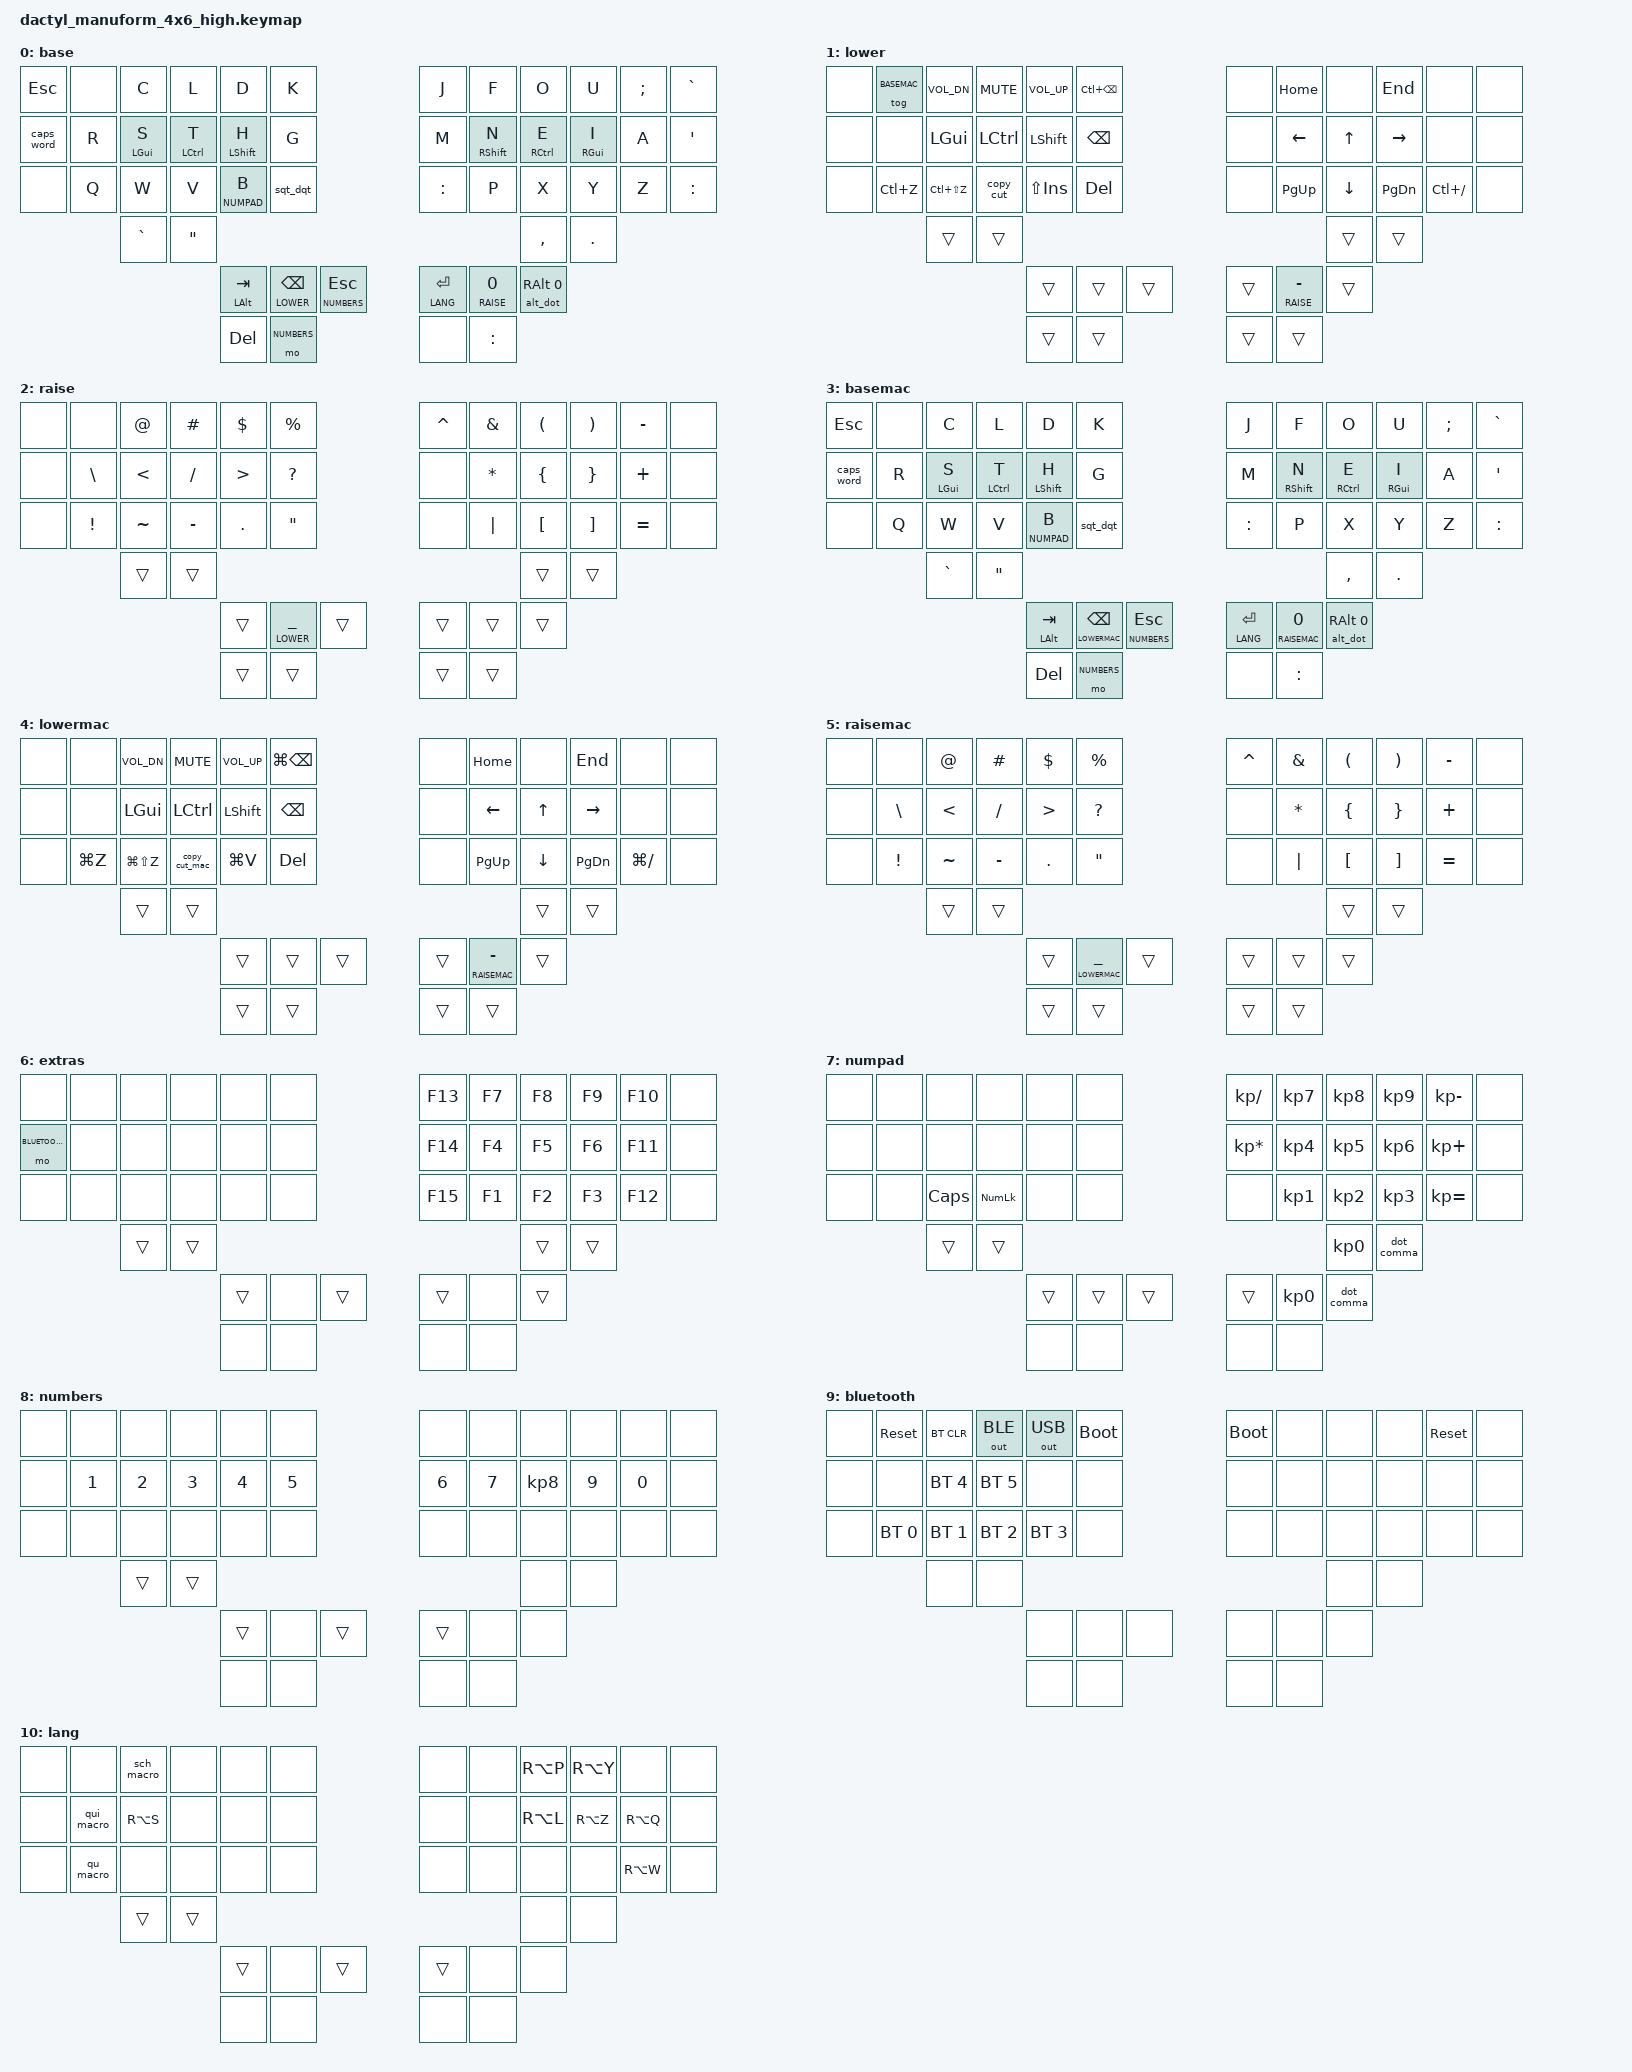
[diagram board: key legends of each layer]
#include <behaviors.dtsi>
#include <dt-bindings/zmk/keys.h>
#include <dt-bindings/zmk/bt.h>
#include <dt-bindings/zmk/outputs.h>
#include "../zmk-nodefree-config/helper.h"
#include "../zmk-nodefree-config/keypos_def/keypos_dactyl_manuform_4x6.h"

#define BASE      0
#define LOWER     1
#define RAISE     2

#define BASEMAC   3
#define LOWERMAC  4
#define RAISEMAC  5

#define EXTRAS    6
#define NUMPAD    7
#define NUMBERS   8
#define BLUETOOTH 9
#define LANG      10


// left-hand keys
#define KEYS_L LN0 LN1 LN2 LN3 LN4 LN5 LT0 LT1 LT2 LT3 LT4 LT5 LM0 LM1 LM2 LM3 LM4 LM5 LB0 LB1
// right-hand keys
#define KEYS_R RN0 RN1 RN2 RN3 RN4 RN5 RT0 RT1 RT2 RT3 RT4 RT5 RM0 RM1 RM2 RM3 RM4 RM5 RB0 RB1
// left-hand thumb keys
#define THUMBS_L LH4 LH3 LH2 LH1 LH0
// right-hand thumb keys
#define THUMBS_R RH0 RH1 RH2 RH3 RH4

/ {
    conditional_layers {
        compatible = "zmk,conditional-layers";
        tri_layer {
            if-layers = <LOWER RAISE>;
            then-layer = <EXTRAS>;
        };
        tri_layer_mac {
            if-layers = <LOWERMAC RAISEMAC>;
            then-layer = <EXTRAS>;
        };
    };
};


#define XXX &none
#define ___ &trans

#undef COMBO_TERM
#define COMBO_TERM 40

ZMK_COMBO(comboColon, &kp COLON, RM1 RM2, 0)
// ZMK_COMBO(comboSingleQuote, &kp SINGLE_QUOTE, RT1 RT2, 0)
// ZMK_COMBO(comboDoubleQuote, &kp DOUBLE_QUOTES,  RT2 RT3, 0)
// ZMK_COMBO(comboReturn, &kp RET, RH3 RT4, 0)

#define MAKE_HRM(NAME, HOLD, TAP, TRIGGER_POS) \
    ZMK_BEHAVIOR(NAME, hold_tap, \
        flavor = "balanced"; \
        tapping-term-ms = <280>; \
        quick-tap-ms = <175>; \
        bindings = <HOLD>, <TAP>; \
        hold-trigger-key-positions = <TRIGGER_POS>; \
        hold-trigger-on-release; \
        hold-while-undecided; \
    )
//global-quick-tap-ms = <150>;

// left-hand HRMs
MAKE_HRM(hml, &kp, &kp, THUMBS_L THUMBS_R KEYS_R)
// right-hand HRMs
MAKE_HRM(hmr, &kp, &kp, THUMBS_L THUMBS_R KEYS_L)

&lt {
  tapping-term-ms = <280>;
  quick-tap-ms = <175>; // repeat on tap-into-hold
  flavor = "balanced";
};

&mt {
  tapping-term-ms = <280>;
  quick-tap-ms = <200>; // repeat on tap-into-hold
  flavor = "balanced";
};

// long-tap action on hold, short-tap action on all interrupts
// flavor = "tap-preferred";
// #define MT_CORE \
//     flavor = "balanced"; \
//     tapping-term-ms = <220>; \
//     quick-tap-ms = <220>; \
//     hold-trigger-key-positions = <0>;

// &mt { MT_CORE };

// ZMK_BEHAVIOR(mt_home, hold_tap, bindings = <&masked_home>, <&kp>; MT_CORE)
// ZMK_BEHAVIOR(mt_end,  hold_tap,  bindings = <&masked_end>, <&kp>; MT_CORE)

// #define NAV_LEFT  &mt_home 0   LEFT    // tap: left  | long-tap: beginning of line
// #define NAV_RIGHT &mt_end 0    RIGHT   // tap: right | long-tap: end       of line
// #define NAV_UP    &mt LC(HOME) UP      // tap: up    | long-tap: beginning of document
// #define NAV_DOWN  &mt LC(END)  DOWN    // tap: down  | long-tap: end       of document
// #define NAV_BSPC  &mt LC(BSPC) BSPC    // tap: bspc  | long-tap: delete word backward
// #define NAV_DEL   &mt LC(DEL)  DEL     // tap: del   | long-tap: delete word forward

// mask CTRL when holding left/right to avoid accidental jumps to beginning/end of document
#define MASK_MODS(NAME, MODS, BINDING) \
    ZMK_BEHAVIOR(NAME, mod_morph, \
        bindings = <BINDING>, <BINDING>; \
        mods = <MODS>; \
    )
MASK_MODS(masked_home, (MOD_LCTL), &kp HOME)
MASK_MODS(masked_end,  (MOD_LCTL), &kp END)

// -------------------------------------------------------------------
ZMK_BEHAVIOR(lt_spc, hold_tap,
    flavor = "balanced";
    tapping-term-ms = <200>;
    quick-tap-ms = <175>;
    bindings = <&mo>, <&spc_morph>;
)
ZMK_BEHAVIOR(spc_morph, mod_morph,
    bindings = <&kp SPACE>, <&dot_spc>;
    mods = <(MOD_LSFT|MOD_RSFT)>;
)
ZMK_BEHAVIOR(dot_spc, macro,
    wait-ms = <0>;
    tap-ms = <5>;
    bindings = <&kp DOT &kp SPACE &sk LSHFT>;
)

// ZMK_BEHAVIOR(tmux, macro,
//     wait-ms = <0>;
//     tap-ms = <5>;
//     bindings = <&kp LCTL &kp B>;
// )
// -------------------------------------------------------------------
ZMK_BEHAVIOR(alt_dot, hold_tap,
    flavor = "balanced";
    tapping-term-ms = <200>;
    bindings = <&kp>, <&alt_morph>;
    hold-while-undecided;
)
ZMK_BEHAVIOR(alt_morph, mod_morph,
    bindings = <&kp DOT>, <&kp COMMA>;
    mods = <(MOD_LSFT|MOD_RSFT)>;
)
// -------------------------------------------------------------------
// -------------------------------------------------------------------
ZMK_BEHAVIOR(copy_cut, tap_dance,
    tapping-term-ms = <200>;
    bindings = <&kp LC(INS)>, <&kp LC(X)>;
)

ZMK_BEHAVIOR(copy_cut_mac, tap_dance,
    tapping-term-ms = <200>;
    bindings = <&kp LG(C)>, <&kp LG(X)>;
)

ZMK_BEHAVIOR(dot_comma, tap_dance,
    tapping-term-ms = <200>;
    bindings = <&kp DOT>, <&kp COMMA>;
)

ZMK_BEHAVIOR(sqt_dqt, tap_dance,
    tapping-term-ms = <200>;
    bindings = <&kp SQT>, <&kp DQT>;
)
// -------------------------------------------------------------------
// -------------------------------------------------------------------

ZMK_BEHAVIOR(qu_macro, macro,
    wait-ms = <0>;
    tap-ms = <5>;
    bindings = <&kp Q>, <&kp U>;
)
ZMK_BEHAVIOR(qui_macro, macro,
    wait-ms = <0>;
    tap-ms = <5>;
    bindings = <&kp Q>, <&kp U>, <&kp I>;
)
ZMK_BEHAVIOR(sch_macro, macro,
    wait-ms = <0>;
    tap-ms = <5>;
    bindings = <&kp S>, <&kp C>, <&kp H>;
)
// -------------------------------------------------------------------

// -------------------------------------------------------------------
// Linux
// -------------------------------------------------------------------
ZMK_LAYER(base,
  &kp ESC       XXX           &kp C         &kp L           &kp D         &kp K                                             &kp J         &kp F         &kp O         &kp U         &kp SEMI      &kp GRAVE
  &caps_word    &kp R         &hml LGUI S   &hml LCTRL T    &hml LSHIFT H &kp G                                             &kp M         &hmr RSHIFT N &hmr RCTRL E  &hmr RGUI I   &kp A         &kp SQT
  XXX           &kp Q         &kp W         &kp V           &lt NUMPAD B  &sqt_dqt                                          &kp COLON     &kp P         &kp X         &kp Y         &kp Z         &kp COLON
                              &kp GRAVE      &kp DQT                                                                                                    &kp COMMA     &kp DOT
                                                            &mt LALT TAB  &lt LOWER BSPC  &lt NUMBERS ESC           &lt LANG RET &lt_spc RAISE 0   &alt_dot RALT 0
                                                                  &kp DEL       &mo NUMBERS                                 XXX       &kp COLON
)

ZMK_LAYER(lower,
  XXX           &tog BASEMAC  &kp K_VOL_DN  &kp K_MUTE    &kp K_VOL_UP  &kp LC(BSPC)                                        XXX           &kp HOME      XXX           &kp END       XXX           XXX
  XXX           XXX           &kp LGUI      &kp LCTRL     &kp LSHIFT    &kp BSPC                                            XXX           &kp LEFT      &kp UP        &kp RIGHT     XXX           XXX
  XXX           &kp LC(Z)     &kp LC(LS(Z)) &copy_cut     &kp LS(INS)   &kp DEL                                             XXX           &kp PG_UP     &kp DOWN      &kp PG_DN     &kp LC(SLASH) XXX
                              ___           ___                                                                                                         ___           ___
                                                            ___         ___         ___                     ___    &lt RAISE MINUS         ___
                                                                  ___         ___                                 ___         ___
)

ZMK_LAYER(raise,
  XXX           XXX           &kp AT        &kp HASH      &kp DOLLAR    &kp PERCENT                                         &kp CARET     &kp AMPS      &kp LPAR      &kp RPAR      &kp MINUS     XXX
  XXX           &kp BACKSLASH &kp LT        &kp SLASH     &kp GT        &kp QMARK                                           XXX           &kp ASTERISK  &kp LBRC      &kp RBRC      &kp PLUS      XXX
  XXX           &kp EXCL      &kp TILDE     &kp MINUS     &kp DOT       &kp DQT                                             XXX           &kp PIPE      &kp LBKT      &kp RBKT      &kp EQUAL     XXX
                              ___           ___                                                                                                     ___           ___
                                                            ___    &lt LOWER UNDERSCORE     ___                     ___         ___         ___
                                                                  ___         ___                                 ___         ___
)

// -------------------------------------------------------------------
// Linux end
// -------------------------------------------------------------------

// -------------------------------------------------------------------
// Mac start
// -------------------------------------------------------------------

ZMK_LAYER(basemac,
  &kp ESC       XXX           &kp C         &kp L           &kp D         &kp K                                             &kp J         &kp F         &kp O         &kp U         &kp SEMI      &kp GRAVE
  &caps_word    &kp R         &hml LGUI S   &hml LCTRL T    &hml LSHIFT H &kp G                                             &kp M         &hmr RSHIFT N &hmr RCTRL E  &hmr RGUI I   &kp A         &kp SQT
  XXX           &kp Q         &kp W         &kp V           &lt NUMPAD B  &sqt_dqt                                          &kp COLON     &kp P         &kp X         &kp Y         &kp Z         &kp COLON
                              &kp GRAVE      &kp DQT                                                                                                    &kp COMMA     &kp DOT
                                                            &mt LALT TAB  &lt LOWERMAC BSPC  &lt NUMBERS ESC           &lt LANG RET   &lt_spc RAISEMAC 0   &alt_dot RALT 0
                                                                  &kp DEL       &mo NUMBERS                                 XXX       &kp COLON
)

ZMK_LAYER(lowermac,
  XXX           XXX           &kp K_VOL_DN  &kp K_MUTE    &kp K_VOL_UP  &kp LG(BSPC)                                        XXX           &kp HOME      XXX           &kp END       XXX           XXX
  XXX           XXX           &kp LGUI      &kp LCTRL     &kp LSHIFT    &kp BSPC                                            XXX           &kp LEFT      &kp UP        &kp RIGHT     XXX           XXX
  XXX           &kp LG(Z)     &kp LG(LS(Z)) &copy_cut_mac     &kp LG(V)     &kp DEL                                             XXX           &kp PG_UP     &kp DOWN      &kp PG_DN     &kp LG(SLASH) XXX
                              ___           ___                                                                                                         ___           ___
                                                            ___         ___         ___                     ___    &lt RAISEMAC MINUS         ___
                                                                  ___         ___                                 ___         ___
)

ZMK_LAYER(raisemac,
  XXX           XXX           &kp AT        &kp HASH      &kp DOLLAR    &kp PERCENT                                         &kp CARET     &kp AMPS      &kp LPAR      &kp RPAR      &kp MINUS     XXX
  XXX           &kp BACKSLASH &kp LT        &kp SLASH     &kp GT        &kp QMARK                                           XXX           &kp ASTERISK  &kp LBRC      &kp RBRC      &kp PLUS      XXX
  XXX           &kp EXCL      &kp TILDE     &kp MINUS     &kp DOT       &kp DQT                                             XXX           &kp PIPE      &kp LBKT      &kp RBKT      &kp EQUAL     XXX
                              ___           ___                                                                                                     ___           ___
                                                            ___    &lt LOWERMAC UNDERSCORE     ___                     ___         ___         ___
                                                                  ___         ___                                 ___         ___
)

// -------------------------------------------------------------------
// Mac end
// -------------------------------------------------------------------

ZMK_LAYER(extras,
  XXX           XXX           XXX           XXX           XXX           XXX                                             &kp F13       &kp F7        &kp F8        &kp F9        &kp F10           XXX
  &mo BLUETOOTH XXX           XXX           XXX           XXX           XXX                                             &kp F14       &kp F4        &kp F5        &kp F6        &kp F11           XXX
  XXX           XXX           XXX           XXX           XXX           XXX                                             &kp F15       &kp F1        &kp F2        &kp F3        &kp F12           XXX
                              ___           ___                                                                                                     ___           ___
                                                            ___         XXX         ___                     ___         XXX         ___
                                                                  XXX         XXX                                 XXX         XXX
)

ZMK_LAYER(numpad,
  XXX           XXX           XXX           XXX           XXX           XXX                                             &kp KP_DIVIDE   &kp KP_N7   &kp KP_N8   &kp KP_N9   &kp KP_MINUS          XXX
  XXX           XXX           XXX           XXX           XXX           XXX                                             &kp KP_MULTIPLY &kp KP_N4   &kp KP_N5   &kp KP_N6   &kp KP_PLUS           XXX
  XXX           XXX           &kp CAPSLOCK  &kp KP_NUMLOCK XXX          XXX                                             XXX             &kp KP_N1   &kp KP_N2   &kp KP_N3   &kp KP_EQUAL          XXX
                              ___           ___                                                                                                     &kp KP_N0   &dot_comma
                                                            ___         ___         ___                     ___         &kp KP_N0     &dot_comma
                                                                  XXX         XXX                                 XXX         XXX
)


ZMK_LAYER(numbers,
  XXX           XXX           XXX           XXX           XXX           XXX                                             XXX             XXX           XXX         XXX           XXX               XXX
  XXX           &kp NUMBER_1  &kp NUMBER_2  &kp NUMBER_3  &kp NUMBER_4  &kp NUMBER_5                                    &kp NUMBER_6    &kp NUMBER_7  &kp KP_N8   &kp NUMBER_9  &kp NUMBER_0      XXX
  XXX           XXX           XXX           XXX           XXX           XXX                                             XXX             XXX           XXX         XXX           XXX               XXX
                              ___           ___                                                                                                       XXX         XXX
                                                            ___         XXX         ___                     ___         XXX           XXX
                                                                  XXX         XXX                                 XXX         XXX
)

ZMK_LAYER(bluetooth,
  XXX           &sys_reset    &bt BT_CLR    &out OUT_BLE  &out OUT_USB  &bootloader                                     &bootloader   XXX           XXX           XXX           &sys_reset    XXX
  XXX           XXX           &bt BT_SEL 4  &bt BT_SEL 5  XXX           XXX                                             XXX           XXX           XXX           XXX           XXX           XXX
  XXX           &bt BT_SEL 0  &bt BT_SEL 1  &bt BT_SEL 2  &bt BT_SEL 3  XXX                                             XXX           XXX           XXX           XXX           XXX           XXX
                              XXX           XXX                                                                                                     XXX           XXX
                                                            XXX         XXX         XXX                     XXX         XXX         XXX
                                                                  XXX         XXX                                 XXX         XXX
)


ZMK_LAYER(lang,
  XXX           XXX           &sch_macro    XXX           XXX           XXX                                             XXX             XXX           &kp RA(P)   &kp RA(Y)     XXX               XXX
  XXX           &qui_macro    &kp RA(S)     XXX           XXX           XXX                                             XXX             XXX           &kp RA(L)   &kp RA(Z)     &kp RA(Q)         XXX
  XXX           &qu_macro     XXX           XXX           XXX           XXX                                             XXX             XXX           XXX         XXX           &kp RA(W)         XXX
                              ___           ___                                                                                                       XXX         XXX
                                                            ___         XXX         ___                     ___         XXX           XXX
                                                                  XXX         XXX                                 XXX         XXX
)


// ZMK_LAYER(base,
//   XXX           XXX           &kp W         &kp F           &kp P         &kp B                                             &kp J         &kp L         &kp U         &kp Y         &kp SEMI      &kp GRAVE
//   XXX           &kp A         &hml LGUI S   &hml LCTRL T    &hml LSHIFT H &kp G                                             &kp M         &hmr RSHIFT N &hmr RCTRL E  &hmr RGUI I   &kp O         &kp SQT
//   &caps_word    &kp Z         &kp C         &kp K           &lt NUMPAD D  &sqt_dqt                                          &kp COLON     &kp R         &kp X         &kp V         &kp Q         &kp COLON
//                               &kp TILDE     &kp SLASH                                                                                                   &kp COMMA     &kp DOT
//                                                             &mt LALT TAB  &lt LOWER BSPC  &lt NUMPAD ESC            &kp RET    &lt_spc RAISE 0   &alt_dot RALT 0
//                                                                   &kp DEL       &mo NUMBERS                                 XXX       &kp COLON
// )

// ZMK_LAYER(qure,
//   XXX           XXX           &kp W         &kp F           &kp P         &kp B                                             &kp X         &kp V         &kp K         &kp Y         &kp SEMI      &kp GRAVE
//   XXX           &kp R         &hml LGUI S   &hml LCTRL T    &hml LSHIFT H &kp G                                             &kp M         &hmr RSHIFT N &hmr RCTRL E  &hmr RGUI I   &kp A         &kp SQT
//   &caps_word    &kp Q         &kp C         &kp L           &lt NUMPAD D  &sqt_dqt                                          &kp COLON     &kp J         &kp U         &kp O         &kp Z         &kp COLON
//                               &kp TILDE     &kp SLASH                                                                                                   &kp COMMA     &kp DOT
//                                                             &mt LALT TAB  &lt LOWER BSPC  &lt NUMPAD ESC            &kp RET    &lt_spc RAISE 0   &alt_dot RALT 0
//                                                                   &kp DEL       &mo NUMBERS                                 XXX       &kp COLON
// )


// ZMK_LAYER(qure,
//   XXX           XXX           &kp W         &kp F           &kp P         &kp B                                             &kp J         &kp Y         &kp U         &kp O         &kp SEMI      &kp GRAVE
//   XXX           &kp R         &hml LGUI S   &hml LCTRL T    &hml LSHIFT H &kp G                                             &kp M         &hmr RSHIFT N &hmr RCTRL E  &hmr RGUI I   &kp A         &kp SQT
//   &caps_word    &kp Q         &kp C         &kp L           &lt NUMPAD D  &sqt_dqt                                          &kp COLON     &kp V         &kp X         &kp K         &kp Z         &kp COLON
//                               &kp TILDE     &kp SLASH                                                                                                   &kp COMMA     &kp DOT
//                                                             &mt LALT TAB  &lt LOWER BSPC  &lt NUMPAD ESC            &kp RET    &lt_spc RAISE 0   &alt_dot RALT 0
//                                                                   &kp DEL       &mo NUMBERS                                 XXX       &kp COLON
// )



// ZMK_LAYER(qure,
//   XXX           XXX           &kp L         &kp D           &kp W         &kp B                                             &kp J         &kp F         &kp U         &kp O         &kp SEMI      &kp GRAVE
//   XXX           &kp N         &hml LGUI R   &hml LCTRL S    &hml LSHIFT T &kp G                                             &kp Y         &hmr RSHIFT H &hmr RCTRL A  &hmr RGUI E   &kp I         &kp SQT
//   &caps_word    &kp Q         &kp X         &kp M           &lt NUMPAD C  &sqt_dqt                                          &kp COLON     &kp P         &kp X         &kp V         &kp Z         &kp COLON
//                               &kp TILDE     &kp SLASH                                                                                                   &kp COMMA     &kp DOT
//                                                             &mt LALT TAB  &lt LOWER BSPC  &lt NUMPAD ESC            &kp RET    &lt_spc RAISE 0   &alt_dot RALT 0
//                                                                   &kp DEL       &mo NUMBERS                                 XXX       &kp COLON
// )
//  ldwb jfou
// nrtsg yhaei
// qxmc   kpvz
// ZMK_LAYER(qure,
//   XXX           XXX           &kp C         &kp L           &kp D         &kp B                                             &kp J         &kp U         &kp O         &kp Y         &kp SEMI      &kp GRAVE
//   XXX           &kp R         &hml LGUI S   &hml LCTRL T    &hml LSHIFT H &kp G                                             &kp M         &hmr RSHIFT N &hmr RCTRL E  &hmr RGUI I   &kp A         &kp SQT
//   &caps_word    &kp Q         &kp W         &kp F           &lt NUMPAD P  XXX                                               &kp COLON     &kp V         &kp X         &kp K         &kp Z         &kp COLON
//                               &kp TILDE     &kp SLASH                                                                                                   &kp COMMA     &kp DOT
//                                                             &mt LALT TAB  &lt LOWER BSPC  &lt NUMPAD ESC                  &kp RET    &lt_spc RAISE 0   &alt_dot RALT 0
//                                                                   &kp DEL       &mo NUMBERS                                 XXX       &kp COLON
// )
